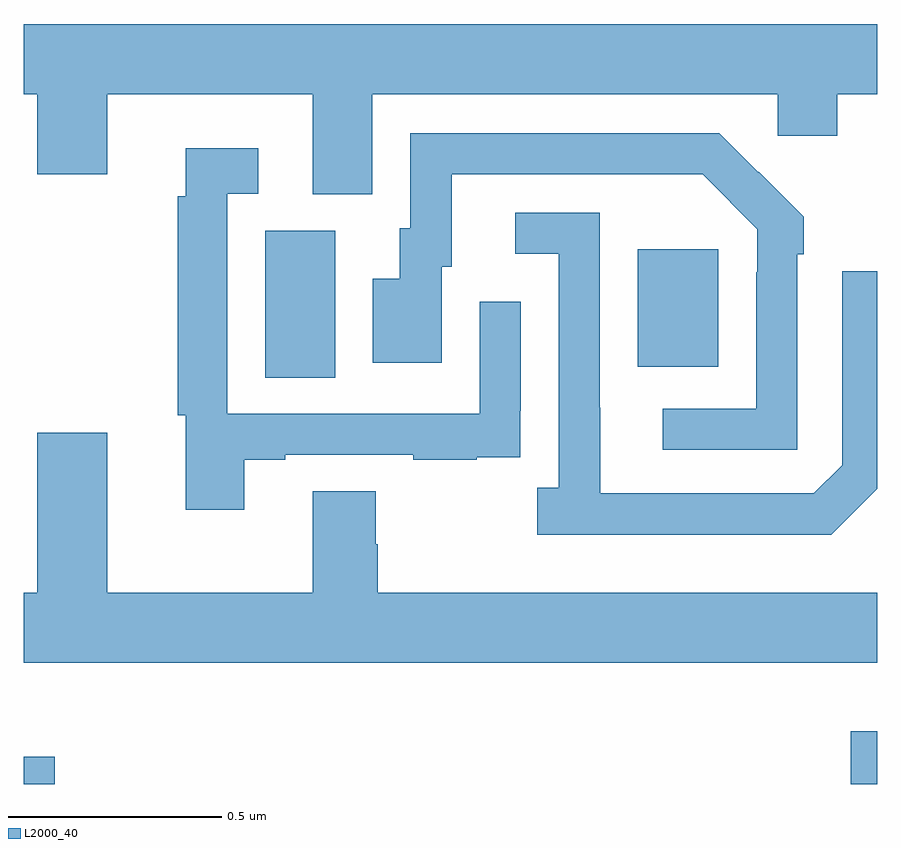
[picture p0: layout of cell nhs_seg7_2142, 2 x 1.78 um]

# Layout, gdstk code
import gdstk
lib = gdstk.Library(unit=1e-6, precision=1e-09)
def R(c, l, rs):  # rectangles x0, y0, x1, y1
    for r in rs: c.add(gdstk.rectangle(r[:2], r[2:], *l))
def P(c, l, *ps):  # polygons
    for p in ps: c.add(gdstk.Polygon(p, *l))
L2000_40 = (2000, 40)

nhs_seg7_2142 = lib.new_cell('nhs_seg7_2142')
R(nhs_seg7_2142, L2000_40, [(141,999,141.073,999.064), (142.938,999,143,999.124), (141.566,999.952,141.73,1000.296), (142.439,999.977,142.627,1000.252)])
P(nhs_seg7_2142, L2000_40, [(141.817,1000.616),(142.767,1000.616),(142.767,1000.518),(142.906,1000.518),(142.906,1000.616),(143,1000.616),(143,1000.78),(141,1000.78),(141,1000.616),(141.032,1000.616),(141.032,1000.428),(141.196,1000.428),(141.196,1000.616),(141.677,1000.616),(141.677,1000.381),(141.817,1000.381)],
  [(142.812,1000.241),(142.827,1000.241),(142.827,1000.329),(142.722,1000.434),(142.721,1000.433),(142.63,1000.524),(141.906,1000.524),(141.906,1000.302),(141.881,1000.302),(141.881,1000.183),(141.818,1000.183),(141.818,999.987),(141.979,999.987),(141.979,1000.212),(142.003,1000.212),(142.003,1000.428),(142.591,1000.428),(142.719,1000.299),(142.719,1000.199),(142.716,1000.199),(142.716,999.879),(142.497,999.879),(142.497,999.783),(142.812,999.783)],
  [(141.517,999.759),(141.613,999.759),(141.613,999.771),(141.913,999.771),(141.913,999.759),(142.061,999.759),(142.061,999.765),(142.163,999.765),(142.163,999.874),(142.164,999.874),(142.164,1000.129),(142.068,1000.129),(142.068,999.867),(141.477,999.867),(141.477,1000.383),(141.55,1000.383),(141.55,1000.489),(141.38,1000.489),(141.38,1000.376),(141.361,1000.376),(141.361,999.864),(141.38,999.864),(141.38,999.642),(141.517,999.642)],
  [(143,999.692),(143,1000.201),(142.917,1000.201),(142.917,999.747),(142.851,999.681),(142.351,999.681),(142.351,999.881),(142.35,999.881),(142.35,1000.338),(142.152,1000.338),(142.152,1000.242),(142.254,1000.242),(142.254,999.694),(142.203,999.694),(142.203,999.584),(142.892,999.584)],
  [(143,999.448),(141.83,999.448),(141.83,999.561),(141.825,999.561),(141.825,999.686),(141.677,999.686),(141.677,999.448),(141.196,999.448),(141.196,999.823),(141.032,999.823),(141.032,999.448),(141,999.448),(141,999.284),(143,999.284)])

lib.write_gds('nhs_seg7_2142.gds')
